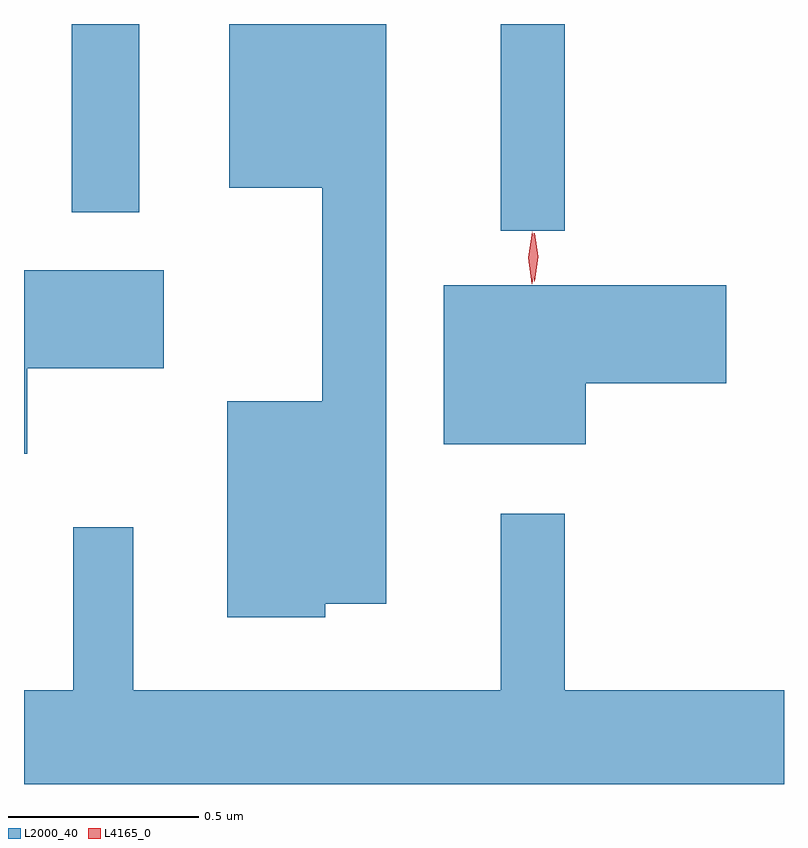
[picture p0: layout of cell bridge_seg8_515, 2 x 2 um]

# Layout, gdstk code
import gdstk
lib = gdstk.Library(unit=1e-6, precision=1e-09)
def R(c, l, rs):  # rectangles x0, y0, x1, y1
    for r in rs: c.add(gdstk.rectangle(r[:2], r[2:], *l))
def P(c, l, *ps):  # polygons
    for p in ps: c.add(gdstk.Polygon(p, *l))
L2000_40 = (2000, 40)
L4165_0 = (4165, 0)

bridge_seg8_515 = lib.new_cell('bridge_seg8_515')
R(bridge_seg8_515, L2000_40, [(293.711,1904.493,293.879,1905.037), (292.581,1904.541,292.759,1905.037)])
P(bridge_seg8_515, L2000_40, [(293.249,1903.511),(293.409,1903.511),(293.409,1905.037),(292.996,1905.037),(292.996,1904.606),(293.241,1904.606),(293.241,1904.044),(292.991,1904.044),(292.991,1903.476),(293.249,1903.476)],
  [(292.464,1904.131),(292.824,1904.131),(292.824,1904.389),(292.456,1904.389),(292.456,1903.906),(292.464,1903.906)],
  [(293.934,1904.091),(294.304,1904.091),(294.304,1904.349),(293.561,1904.349),(293.561,1903.931),(293.934,1903.931)],
  [(294.456,1903.284),(293.879,1903.284),(293.879,1903.748),(293.711,1903.748),(293.711,1903.284),(292.744,1903.284),(292.744,1903.713),(292.586,1903.713),(292.586,1903.284),(292.456,1903.284),(292.456,1903.037),(294.456,1903.037)])
P(bridge_seg8_515, L4165_0, [(293.792,1904.354),(293.792,1904.354),(293.783,1904.422),(293.793,1904.49),(293.794,1904.49),(293.794,1904.49),(293.803,1904.422),(293.793,1904.354)],
  [(293.799,1904.36),(293.789,1904.424),(293.798,1904.486),(293.799,1904.487),(293.8,1904.486),(293.809,1904.424),(293.8,1904.36),(293.8,1904.36)])

lib.write_gds('bridge_seg8_515.gds')
